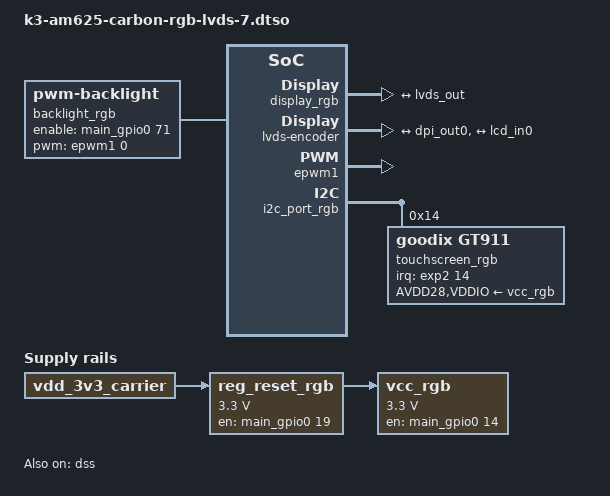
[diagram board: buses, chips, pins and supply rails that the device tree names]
// SPDX-License-Identifier: GPL-2.0-only OR MIT
/*
 * RGB to LVDS Expansion Board with BD070LIC3 display for carbon AM62xx
 *
 * Copyright (C) 2024 Ezurio LLC
 */

/dts-v1/;
/plugin/;

#include <dt-bindings/gpio/gpio.h>
#include <dt-bindings/interrupt-controller/irq.h>
#include <dt-bindings/pwm/pwm.h>
#include "k3-pinctrl.h"

&{/} {
	backlight_rgb: backlight-rgb {
		compatible = "pwm-backlight";

		brightness-levels = <0 1 2 3 4 5 6 7 8 9 10>;
		default-brightness-level = <8>;
		pwms = <&epwm1 0 30000 0>; /* 33.3 kHz */

		pinctrl-names = "default";
		pinctrl-0 = <&main_rgb_backlight_en_default>;
		enable-gpios = <&main_gpio0 71 GPIO_ACTIVE_HIGH>;
	};

	display_rgb: display-rgb {
		/* BD070LIC3 */
		compatible = "tianma,tm070jdhg30", "panel-simple";

		backlight = <&backlight_rgb>;
		power-supply = <&vcc_rgb>;

		port {
			lcd_in0: endpoint {
				remote-endpoint = <&lvds_out>;
			};
		};
	};

	reg_reset_rgb: regulator-reset-rgb {
		/* output of U4 */
		compatible = "regulator-fixed";
		regulator-name = "reg_reset_rgb";

		vin-supply = <&vdd_3v3_carrier>;

		pinctrl-names = "default";
		pinctrl-0 = <&main_rgb_reset_default>;
		gpios = <&main_gpio0 19 GPIO_ACTIVE_HIGH>;
		enable-active-high;

		regulator-min-microvolt = <3300000>;
		regulator-max-microvolt = <3300000>;
	};

	vcc_rgb: regulator-vcc-rgb {
		compatible = "regulator-fixed";
		regulator-name = "vcc_rgb";
		regulator-min-microvolt = <3300000>;
		regulator-max-microvolt = <3300000>;

		vin-supply = <&reg_reset_rgb>;

		pinctrl-names = "default";
		pinctrl-0 = <&main_rgb_pwr_default>;
		gpios = <&main_gpio0 14 GPIO_ACTIVE_HIGH>;
		enable-active-high;
		startup-delay-us = <10000>;
	};

	lvds-encoder {
		compatible = "ti,sn65lvds93a", "lvds-encoder";

		//pclk-sample = <1>;
		max-frequency = <130000000>;
		min-frequency = <20000000>;

		ports {
			#address-cells = <1>;
			#size-cells = <0>;

			port@0 {
				reg = <0>;
				lvds_in0: endpoint {
					remote-endpoint = <&dpi_out0>;
				};
			};

			port@1 {
				reg = <1>;
				lvds_out: endpoint {
					remote-endpoint = <&lcd_in0>;
				};
			};
		};
	};
};

&main_pmx0 {
	/* CAUTION: LVDS_E_VDD_EN is shared with RGB_VDD_EN
	   as such these functions cannot be used together */
	main_rgb_pwr_default: main-rgb-pwr-default-pins {
		pinctrl-single,pins = <
			AM62X_IOPAD(0x038, PIN_INPUT, 7) /* RGB_VDD_EN (E24) OSPI0_CSn3.GPIO0_14 */
		>;
	};

	main_rgb_reset_default: main-rgb-reset-default-pins {
		pinctrl-single,pins = <
			AM62X_IOPAD(0x04c, PIN_INPUT, 7) /* RGB_RESET# (P24) GPMC0_AD4.GPIO0_19 */
		>;
	};

	main_rgb_backlight_en_default: main-rgb-backlight-en-default-pins {
		pinctrl-single,pins = <
			AM62X_IOPAD(0x124, PIN_INPUT, 7) /* RGB_BL_EN (A23) MMC2_SDCD.GPIO0_71 */
		>;
	};
};

&epwm1 {
	status = "okay";
};

&dss {
	pinctrl-names = "default";
	pinctrl-0 = <&main_dss0_pins_default>;
	status = "okay";
};

&dss_ports {
	#address-cells = <1>;
	#size-cells = <0>;

	port@1 {
		reg = <1>;

		dpi_out0: endpoint {
			remote-endpoint = <&lvds_in0>;
		};
	};
};

&i2c_port_rgb {
	#address-cells = <1>;
	#size-cells = <0>;

	touchscreen_rgb: touchscreen@14 {
		compatible = "goodix,gt911";
		reg = <0x14>;
		AVDD28-supply = <&vcc_rgb>;
		VDDIO-supply = <&vcc_rgb>;
		interrupts-extended = <&exp2 14 IRQ_TYPE_EDGE_RISING>;
		interrupt-names = "irq";
		irq-gpios = <&exp2 14 GPIO_ACTIVE_HIGH>;
		touchscreen-size-x = <1280>;
		touchscreen-size-y = <800>;
	};
};
